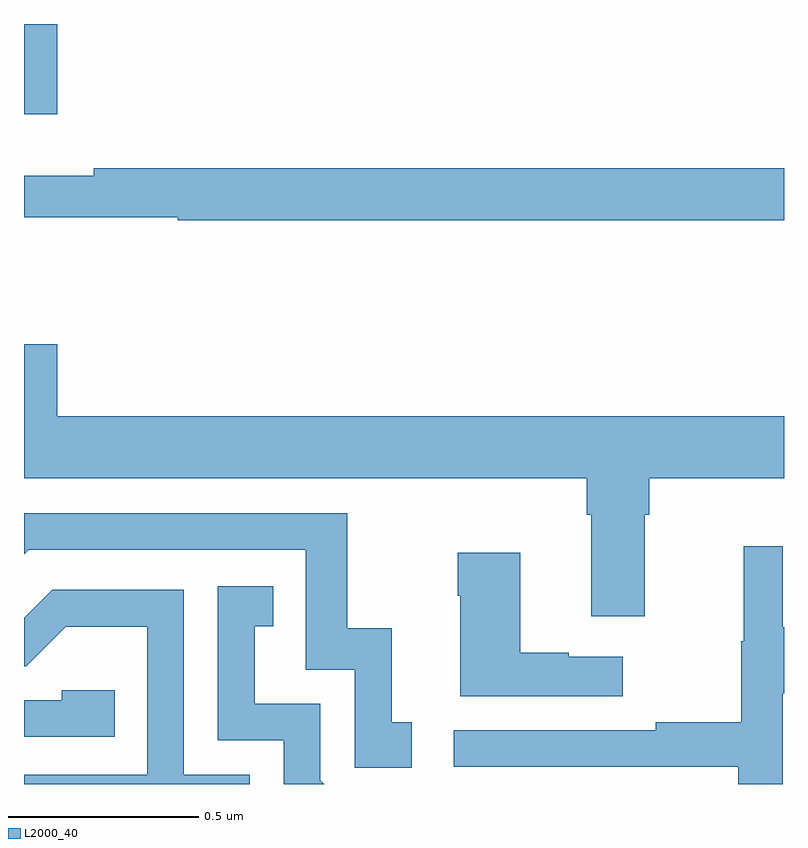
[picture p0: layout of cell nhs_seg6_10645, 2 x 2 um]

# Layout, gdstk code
import gdstk
lib = gdstk.Library(unit=1e-6, precision=1e-09)
def R(c, l, rs):  # rectangles x0, y0, x1, y1
    for r in rs: c.add(gdstk.rectangle(r[:2], r[2:], *l))
def P(c, l, *ps):  # polygons
    for p in ps: c.add(gdstk.Polygon(p, *l))
L2000_40 = (2000, 40)

nhs_seg6_10645 = lib.new_cell('nhs_seg6_10645')
R(nhs_seg6_10645, L2000_40, [(249,980.262,249.088,980.5)])
P(nhs_seg6_10645, L2000_40, [(251,980.12),(249.184,980.12),(249.184,980.101),(249,980.101),(249,979.992),(249.404,979.992),(249.404,979.984),(251,979.984)],
  [(250.633,979.208),(250.646,979.208),(250.646,979.304),(251,979.304),(251,979.468),(249.088,979.468),(249.088,979.657),(249,979.657),(249,979.304),(250.481,979.304),(250.481,979.208),(250.493,979.208),(250.493,978.942),(250.633,978.942)],
  [(250.021,978.663),(249.968,978.663),(249.968,978.91),(249.85,978.91),(249.85,979.212),(249,979.212),(249,979.104),(249.012,979.116),(249.741,979.116),(249.741,978.801),(249.87,978.801),(249.87,978.543),(250.021,978.543)],
  [(250.997,978.739),(251,978.739),(251,978.913),(250.997,978.913),(250.997,979.126),(250.894,979.126),(250.894,978.876),(250.887,978.876),(250.887,978.662),(250.663,978.662),(250.663,978.642),(250.131,978.642),(250.131,978.546),(250.879,978.546),(250.879,978.5),(250.997,978.5)],
  [(250.576,978.835),(250.433,978.835),(250.433,978.845),(250.306,978.845),(250.306,979.108),(250.141,979.108),(250.141,978.995),(250.148,978.995),(250.148,978.731),(250.576,978.731)],
  [(249.78,978.51),(249.78,978.711),(249.607,978.711),(249.607,978.915),(249.656,978.915),(249.656,979.021),(249.51,979.021),(249.51,978.615),(249.684,978.615),(249.684,978.5),(249.79,978.5)],
  [(249.594,978.525),(249.42,978.525),(249.42,979.011),(249.074,979.011),(249,978.937),(249,978.81),(249.006,978.81),(249.11,978.914),(249.324,978.914),(249.324,978.525),(249,978.525),(249,978.5),(249.594,978.5)],
  [(249.239,978.747),(249.099,978.747),(249.099,978.72),(249,978.72),(249,978.624),(249.239,978.624)])

lib.write_gds('nhs_seg6_10645.gds')
